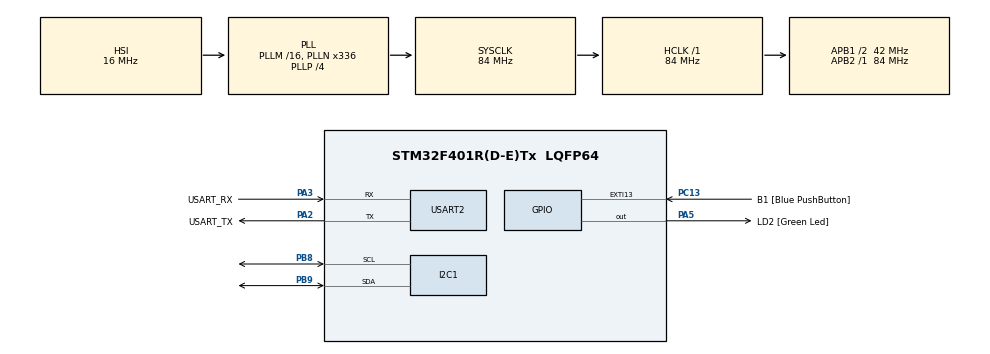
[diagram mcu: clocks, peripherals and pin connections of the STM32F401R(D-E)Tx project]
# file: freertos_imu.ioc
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FREERTOS.Tasks01=defaultTask,24,128,StartDefaultTask,Default,NULL,Dynamic,NULL,NULL
IWDG.Prescaler=IWDG_PRESCALER_64
IWDG.Reload=3124
Mcu.Family=STM32F4
Mcu.Name=STM32F401R(D-E)Tx
Mcu.Package=LQFP64
NVIC.PriorityGroup=NVIC_PRIORITYGROUP_4
NVIC.TIM4_IRQn=true\:15\:0\:false\:false\:true\:false\:false\:true\:true
NVIC.TimeBase=TIM4_IRQn
NVIC.TimeBaseIP=TIM4
PA13.GPIO_Label=TMS
PA13.Mode=Trace_Asynchronous_SW
PA13.Signal=SYS_JTMS-SWDIO
PA14.GPIO_Label=TCK
PA14.Mode=Trace_Asynchronous_SW
PA14.Signal=SYS_JTCK-SWCLK
PA2.GPIO_Label=USART_TX
PA2.GPIO_Mode=GPIO_MODE_AF_PP
PA2.GPIO_PuPd=GPIO_NOPULL
PA2.GPIO_Speed=GPIO_SPEED_FREQ_LOW
PA2.Mode=Asynchronous
PA2.Signal=USART2_TX
PA3.GPIO_Label=USART_RX
PA3.GPIO_Mode=GPIO_MODE_AF_PP
PA3.GPIO_PuPd=GPIO_NOPULL
PA3.GPIO_Speed=GPIO_SPEED_FREQ_LOW
PA3.Mode=Asynchronous
PA3.Signal=USART2_RX
PA5.GPIO_Label=LD2 [Green Led]
PA5.GPIO_Mode=GPIO_MODE_OUTPUT_PP
PA5.GPIO_PuPd=GPIO_NOPULL
PA5.GPIO_Speed=GPIO_SPEED_FREQ_LOW
PA5.Signal=GPIO_Output
PB3.GPIO_Label=SWO
PB3.Mode=Trace_Asynchronous_SW
PB3.Signal=SYS_JTDO-SWO
PB8.Mode=I2C
PB8.Signal=I2C1_SCL
PB9.Mode=I2C
PB9.Signal=I2C1_SDA
PC13-ANTI_TAMP.GPIO_Label=B1 [Blue PushButton]
PC13-ANTI_TAMP.GPIO_ModeDefaultEXTI=GPIO_MODE_IT_FALLING
PC13-ANTI_TAMP.GPIO_PuPd=GPIO_NOPULL
PC13-ANTI_TAMP.Signal=GPXTI13
PC14-OSC32_IN.Mode=LSE-External-Oscillator
PC14-OSC32_IN.Signal=RCC_OSC32_IN
PC15-OSC32_OUT.Mode=LSE-External-Oscillator
PC15-OSC32_OUT.Signal=RCC_OSC32_OUT
PH0\ -\ OSC_IN.Mode=HSE-External-Clock-Source
PH0\ -\ OSC_IN.Signal=RCC_OSC_IN
PH1\ -\ OSC_OUT.Mode=HSE-External-Clock-Source
PH1\ -\ OSC_OUT.Signal=RCC_OSC_OUT
ProjectManager.HeapSize=0x200
ProjectManager.StackSize=0x400
ProjectManager.TargetToolchain=STM32CubeIDE
RCC.48MHZClocksFreq_Value=48000000
RCC.AHBFreq_Value=84000000
RCC.APB1CLKDivider=RCC_HCLK_DIV2
RCC.APB1Freq_Value=42000000
RCC.APB1TimFreq_Value=84000000
RCC.APB2Freq_Value=84000000
RCC.APB2TimFreq_Value=84000000
RCC.CortexFreq_Value=84000000
RCC.HCLKFreq_Value=84000000
RCC.HSE_VALUE=8000000
RCC.HSI_VALUE=16000000
RCC.PLLN=336
RCC.PLLP=RCC_PLLP_DIV4
RCC.PLLQ=7
RCC.SYSCLKFreq_VALUE=84000000
RCC.SYSCLKSource=RCC_SYSCLKSOURCE_PLLCLK
RCC.VCOOutputFreq_Value=336000000
USART2.VirtualMode=VM_ASYNC
VP_FREERTOS_VS_CMSIS_V2.Mode=CMSIS_V2
VP_IWDG_VS_IWDG.Mode=IWDG_Activate
VP_SYS_VS_tim4.Mode=TIM4
VP_TIM2_VS_ClockSourceINT.Mode=Internal
board=NUCLEO-F401RE

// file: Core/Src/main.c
/* USER CODE BEGIN Header */
/**
  ******************************************************************************
  * @file           : main.c
  * @brief          : Main program body
  ******************************************************************************
  * @attention
  *
  * Copyright (c) 2026 STMicroelectronics.
  * All rights reserved.
  *
  * This software is licensed under terms that can be found in the LICENSE file
  * in the root directory of this software component.
  * If no LICENSE file comes with this software, it is provided AS-IS.
  *
  ******************************************************************************
  */
/* USER CODE END Header */
#include "main.h"
#include "cmsis_os.h"

I2C_HandleTypeDef hi2c1;

IWDG_HandleTypeDef hiwdg;

TIM_HandleTypeDef htim2;

UART_HandleTypeDef huart2;

/* Definitions for defaultTask */
osThreadId_t defaultTaskHandle;
const osThreadAttr_t defaultTask_attributes = {
  .name = "defaultTask",
  .stack_size = 128 * 4,
  .priority = (osPriority_t) osPriorityNormal,
};

void SystemClock_Config(void);
static void MX_GPIO_Init(void);
static void MX_I2C1_Init(void);
static void MX_TIM2_Init(void);
static void MX_USART2_UART_Init(void);
static void MX_IWDG_Init(void);
void StartDefaultTask(void *argument);

int main(void)
{

  /* MCU Configuration--------------------------------------------------------*/

  /* Reset of all peripherals, Initializes the Flash interface and the Systick. */
  HAL_Init();

  /* Configure the system clock */
  SystemClock_Config();

  /* Initialize all configured peripherals */
  MX_GPIO_Init();
  MX_I2C1_Init();
  MX_TIM2_Init();
  MX_USART2_UART_Init();
  MX_IWDG_Init();

  /* Init scheduler */
  osKernelInitialize();

  /* Create the thread(s) */
  /* creation of defaultTask */
  defaultTaskHandle = osThreadNew(StartDefaultTask, NULL, &defaultTask_attributes);

  /* Start scheduler */
  HAL_IWDG_Refresh(&hiwdg); /* Refresh before scheduler starts */
  osKernelStart();

  /* We should never get here as control is now taken by the scheduler */

  /* Infinite loop */
  while (1)
  {

  }
}

void SystemClock_Config(void)
{
  RCC_OscInitTypeDef RCC_OscInitStruct = {0};
  RCC_ClkInitTypeDef RCC_ClkInitStruct = {0};

  /** Configure the main internal regulator output voltage
  */
  __HAL_RCC_PWR_CLK_ENABLE();
  __HAL_PWR_VOLTAGESCALING_CONFIG(PWR_REGULATOR_VOLTAGE_SCALE2);

  /** Initializes the RCC Oscillators according to the specified parameters
  * in the RCC_OscInitTypeDef structure.
  */
  RCC_OscInitStruct.OscillatorType = RCC_OSCILLATORTYPE_HSI|RCC_OSCILLATORTYPE_LSI;
  RCC_OscInitStruct.HSIState = RCC_HSI_ON;
  RCC_OscInitStruct.HSICalibrationValue = RCC_HSICALIBRATION_DEFAULT;
  RCC_OscInitStruct.LSIState = RCC_LSI_ON;
  RCC_OscInitStruct.PLL.PLLState = RCC_PLL_ON;
  RCC_OscInitStruct.PLL.PLLSource = RCC_PLLSOURCE_HSI;
  RCC_OscInitStruct.PLL.PLLM = 16;
  RCC_OscInitStruct.PLL.PLLN = 336;
  RCC_OscInitStruct.PLL.PLLP = RCC_PLLP_DIV4;
  RCC_OscInitStruct.PLL.PLLQ = 7;
  if (HAL_RCC_OscConfig(&RCC_OscInitStruct) != HAL_OK)
  {
    Error_Handler();
  }

  /** Initializes the CPU, AHB and APB buses clocks
  */
  RCC_ClkInitStruct.ClockType = RCC_CLOCKTYPE_HCLK|RCC_CLOCKTYPE_SYSCLK
                              |RCC_CLOCKTYPE_PCLK1|RCC_CLOCKTYPE_PCLK2;
  RCC_ClkInitStruct.SYSCLKSource = RCC_SYSCLKSOURCE_PLLCLK;
  RCC_ClkInitStruct.AHBCLKDivider = RCC_SYSCLK_DIV1;
  RCC_ClkInitStruct.APB1CLKDivider = RCC_HCLK_DIV2;
  RCC_ClkInitStruct.APB2CLKDivider = RCC_HCLK_DIV1;

  if (HAL_RCC_ClockConfig(&RCC_ClkInitStruct, FLASH_LATENCY_2) != HAL_OK)
  {
    Error_Handler();
  }
}

static void MX_I2C1_Init(void)
{

  hi2c1.Instance = I2C1;
  hi2c1.Init.ClockSpeed = 100000;
  hi2c1.Init.DutyCycle = I2C_DUTYCYCLE_2;
  hi2c1.Init.OwnAddress1 = 0;
  hi2c1.Init.AddressingMode = I2C_ADDRESSINGMODE_7BIT;
  hi2c1.Init.DualAddressMode = I2C_DUALADDRESS_DISABLE;
  hi2c1.Init.OwnAddress2 = 0;
  hi2c1.Init.GeneralCallMode = I2C_GENERALCALL_DISABLE;
  hi2c1.Init.NoStretchMode = I2C_NOSTRETCH_DISABLE;
  if (HAL_I2C_Init(&hi2c1) != HAL_OK)
  {
    Error_Handler();
  }

}

static void MX_IWDG_Init(void)
{

  hiwdg.Instance = IWDG;
  hiwdg.Init.Prescaler = IWDG_PRESCALER_64;
  hiwdg.Init.Reload = 3124;
  if (HAL_IWDG_Init(&hiwdg) != HAL_OK)
  {
    Error_Handler();
  }

}

static void MX_TIM2_Init(void)
{

  TIM_ClockConfigTypeDef sClockSourceConfig = {0};
  TIM_MasterConfigTypeDef sMasterConfig = {0};

  htim2.Instance = TIM2;
  htim2.Init.Prescaler = 0;
  htim2.Init.CounterMode = TIM_COUNTERMODE_UP;
  htim2.Init.Period = 4294967295;
  htim2.Init.ClockDivision = TIM_CLOCKDIVISION_DIV1;
  htim2.Init.AutoReloadPreload = TIM_AUTORELOAD_PRELOAD_DISABLE;
  if (HAL_TIM_Base_Init(&htim2) != HAL_OK)
  {
    Error_Handler();
  }
  sClockSourceConfig.ClockSource = TIM_CLOCKSOURCE_INTERNAL;
  if (HAL_TIM_ConfigClockSource(&htim2, &sClockSourceConfig) != HAL_OK)
  {
    Error_Handler();
  }
  sMasterConfig.MasterOutputTrigger = TIM_TRGO_RESET;
  sMasterConfig.MasterSlaveMode = TIM_MASTERSLAVEMODE_DISABLE;
  if (HAL_TIMEx_MasterConfigSynchronization(&htim2, &sMasterConfig) != HAL_OK)
  {
    Error_Handler();
  }

}

static void MX_USART2_UART_Init(void)
{

  huart2.Instance = USART2;
  huart2.Init.BaudRate = 115200;
  huart2.Init.WordLength = UART_WORDLENGTH_8B;
  huart2.Init.StopBits = UART_STOPBITS_1;
  huart2.Init.Parity = UART_PARITY_NONE;
  huart2.Init.Mode = UART_MODE_TX_RX;
  huart2.Init.HwFlowCtl = UART_HWCONTROL_NONE;
  huart2.Init.OverSampling = UART_OVERSAMPLING_16;
  if (HAL_UART_Init(&huart2) != HAL_OK)
  {
    Error_Handler();
  }

}

static void MX_GPIO_Init(void)
{
  GPIO_InitTypeDef GPIO_InitStruct = {0};

  /* GPIO Ports Clock Enable */
  __HAL_RCC_GPIOC_CLK_ENABLE();
  __HAL_RCC_GPIOH_CLK_ENABLE();
  __HAL_RCC_GPIOA_CLK_ENABLE();
  __HAL_RCC_GPIOB_CLK_ENABLE();

  /*Configure GPIO pin Output Level */
  HAL_GPIO_WritePin(LD2_GPIO_Port, LD2_Pin, GPIO_PIN_RESET);

  /*Configure GPIO pin : B1_Pin */
  GPIO_InitStruct.Pin = B1_Pin;
  GPIO_InitStruct.Mode = GPIO_MODE_IT_FALLING;
  GPIO_InitStruct.Pull = GPIO_NOPULL;
  HAL_GPIO_Init(B1_GPIO_Port, &GPIO_InitStruct);

  /*Configure GPIO pin : LD2_Pin */
  GPIO_InitStruct.Pin = LD2_Pin;
  GPIO_InitStruct.Mode = GPIO_MODE_OUTPUT_PP;
  GPIO_InitStruct.Pull = GPIO_NOPULL;
  GPIO_InitStruct.Speed = GPIO_SPEED_FREQ_LOW;
  HAL_GPIO_Init(LD2_GPIO_Port, &GPIO_InitStruct);

}

void StartDefaultTask(void *argument)
{
  for(;;)
  {
    osDelay(1);
  }
}

void HAL_TIM_PeriodElapsedCallback(TIM_HandleTypeDef *htim)
{
  if (htim->Instance == TIM4)
  {
    HAL_IncTick();
  }
}

void Error_Handler(void)
{
  __disable_irq();
  while (1)
  {
  }
}

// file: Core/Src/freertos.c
/* USER CODE BEGIN Header */
/**
  ******************************************************************************
  * File Name          : freertos.c
  * Description        : FreeRTOS Multi-Task IMU Sensor Fusion
  *                      Tasks: IMU Read, Kalman Filter, UART Print, LED Blink
  *
  * Features:
  *   - 4 concurrent FreeRTOS tasks with assigned priorities
  *   - MPU6050 IMU read over I2C at 100Hz
  *   - Kalman filter for roll/pitch estimation
  *   - Thread-safe UART output using mutex
  *   - Inter-task communication via queues
  *   - Stack high-water mark monitoring
  *   - Per-task CPU usage via runtime stats
  *   - IWDG watchdog for production-grade reliability
  ******************************************************************************
  */
/* USER CODE END Header */

#include "FreeRTOS.h"
#include "task.h"
#include "main.h"

/* USER CODE BEGIN Includes */
#include "cmsis_os.h"
#include "queue.h"
#include "semphr.h"
#include <stdio.h>
#include <string.h>
#include <math.h>
/* USER CODE END Includes */

/* USER CODE BEGIN PTD */
typedef struct {
    int16_t ax, ay, az;
    int16_t gx, gy, gz;
} IMU_RawData_t;

typedef struct {
    float roll;
    float pitch;
} IMU_Angles_t;

typedef struct {
    float angle;
    float bias;
    float P[2][2];
} KalmanFilter_t;
/* USER CODE END PTD */

/* USER CODE BEGIN PD */
#define MPU6050_ADDR        (0x68 << 1)
#define PWR_MGMT_1          0x6B
#define ACCEL_XOUT_H        0x3B
#define ACCEL_CONFIG        0x1C
#define GYRO_CONFIG         0x1B
#define DT                  0.01f       // 10ms task period
#define RAD_TO_DEG          57.295779513f
#define MAX_TASKS           10
/* USER CODE END PD */

/* USER CODE BEGIN Variables */
static QueueHandle_t xRawDataQueue;
static QueueHandle_t xAnglesQueue;
static SemaphoreHandle_t xUARTMutex;
static TaskHandle_t xIMUTaskHandle;
static TaskHandle_t xKalmanTaskHandle;
static TaskHandle_t xUARTTaskHandle;
static TaskHandle_t xLEDTaskHandle;

extern I2C_HandleTypeDef hi2c1;
extern UART_HandleTypeDef huart2;
extern IWDG_HandleTypeDef hiwdg;
extern TIM_HandleTypeDef htim2;
/* USER CODE END Variables */

/* USER CODE BEGIN FunctionPrototypes */
static void MPU6050_Init(void);
static void MPU6050_Read(IMU_RawData_t *data);
static float Kalman_Update(KalmanFilter_t *kf, float newAngle, float newRate);
static void Kalman_Init(KalmanFilter_t *kf);

void Task_IMU_Read(void *argument);
void Task_Kalman_Filter(void *argument);
void Task_UART_Print(void *argument);
void Task_LED_Blink(void *argument);
/* USER CODE END FunctionPrototypes */

/* USER CODE BEGIN Application */

/* ============================================================
 * MPU6050 Functions
 * ============================================================ */
static void MPU6050_Init(void) {
    uint8_t data = 0x00;
    // Wake up MPU6050
    HAL_I2C_Mem_Write(&hi2c1, MPU6050_ADDR, PWR_MGMT_1, 1, &data, 1, 100);
    HAL_Delay(100);
    // Accel: +-2g, Gyro: +-250 deg/s
    HAL_I2C_Mem_Write(&hi2c1, MPU6050_ADDR, ACCEL_CONFIG, 1, &data, 1, 100);
    HAL_I2C_Mem_Write(&hi2c1, MPU6050_ADDR, GYRO_CONFIG,  1, &data, 1, 100);
}

static void MPU6050_Read(IMU_RawData_t *data) {
    uint8_t buf[14];
    HAL_I2C_Mem_Read(&hi2c1, MPU6050_ADDR, ACCEL_XOUT_H, 1, buf, 14, 100);
    data->ax = (int16_t)(buf[0]  << 8 | buf[1]);
    data->ay = (int16_t)(buf[2]  << 8 | buf[3]);
    data->az = (int16_t)(buf[4]  << 8 | buf[5]);
    data->gx = (int16_t)(buf[8]  << 8 | buf[9]);
    data->gy = (int16_t)(buf[10] << 8 | buf[11]);
    data->gz = (int16_t)(buf[12] << 8 | buf[13]);
}

/* ============================================================
 * Kalman Filter
 * ============================================================ */
static void Kalman_Init(KalmanFilter_t *kf) {
    kf->angle  = 0.0f;
    kf->bias   = 0.0f;
    kf->P[0][0] = 0.0f;
    kf->P[0][1] = 0.0f;
    kf->P[1][0] = 0.0f;
    kf->P[1][1] = 0.0f;
}

static float Kalman_Update(KalmanFilter_t *kf, float newAngle, float newRate) {
    const float Q_angle   = 0.001f;
    const float Q_bias    = 0.003f;
    const float R_measure = 0.03f;

    // Predict
    float rate = newRate - kf->bias;
    kf->angle += DT * rate;
    kf->P[0][0] += DT * (DT * kf->P[1][1] - kf->P[0][1] - kf->P[1][0] + Q_angle);
    kf->P[0][1] -= DT * kf->P[1][1];
    kf->P[1][0] -= DT * kf->P[1][1];
    kf->P[1][1] += Q_bias * DT;

    // Update
    float S  = kf->P[0][0] + R_measure;
    float K0 = kf->P[0][0] / S;
    float K1 = kf->P[1][0] / S;
    float y  = newAngle - kf->angle;
    kf->angle += K0 * y;
    kf->bias  += K1 * y;
    kf->P[0][0] -= K0 * kf->P[0][0];
    kf->P[0][1] -= K0 * kf->P[0][1];
    kf->P[1][0] -= K1 * kf->P[0][0];
    kf->P[1][1] -= K1 * kf->P[0][1];

    return kf->angle;
}

/* ============================================================
 * TASK 1: IMU Read (Priority 4 - Highest)
 * Reads MPU6050 over I2C every 10ms (100Hz)
 * Sends raw data to xRawDataQueue
 * ============================================================ */
void Task_IMU_Read(void *argument) {
    IMU_RawData_t rawData;
    TickType_t xLastWakeTime = xTaskGetTickCount();
    const TickType_t xPeriod = pdMS_TO_TICKS(10);

    for (;;) {
        MPU6050_Read(&rawData);
        xQueueOverwrite(xRawDataQueue, &rawData);
        vTaskDelayUntil(&xLastWakeTime, xPeriod);
    }
}

/* ============================================================
 * TASK 2: Kalman Filter (Priority 3)
 * Receives raw IMU data, applies Kalman filter
 * Sends filtered roll/pitch to xAnglesQueue
 * ============================================================ */
void Task_Kalman_Filter(void *argument) {
    IMU_RawData_t rawData;
    IMU_Angles_t angles;
    KalmanFilter_t kf_roll, kf_pitch;

    Kalman_Init(&kf_roll);
    Kalman_Init(&kf_pitch);

    for (;;) {
        if (xQueueReceive(xRawDataQueue, &rawData, pdMS_TO_TICKS(20)) == pdTRUE) {
            float ax = rawData.ax / 16384.0f;
            float ay = rawData.ay / 16384.0f;
            float az = rawData.az / 16384.0f;
            float gx = rawData.gx / 131.0f;
            float gy = rawData.gy / 131.0f;

            float accel_roll  = atan2f(ay, az) * RAD_TO_DEG;
            float accel_pitch = atan2f(-ax, sqrtf(ay*ay + az*az)) * RAD_TO_DEG;

            angles.roll  = Kalman_Update(&kf_roll,  accel_roll,  gx);
            angles.pitch = Kalman_Update(&kf_pitch, accel_pitch, gy);

            xQueueOverwrite(xAnglesQueue, &angles);
        }
    }
}

/* ============================================================
 * TASK 3: UART Print (Priority 2)
 * Prints Roll/Pitch every 100ms
 * Prints Stack HWM + CPU usage every 1 second
 * Uses mutex for thread-safe UART access
 * ============================================================ */
void Task_UART_Print(void *argument) {
    IMU_Angles_t angles;
    char buf[256];
    uint32_t printCount = 0;
    TickType_t xLastWakeTime = xTaskGetTickCount();
    const TickType_t xPeriod = pdMS_TO_TICKS(100);

    static char statsBuffer[40 * MAX_TASKS];

    for (;;) {
        if (xQueuePeek(xAnglesQueue, &angles, pdMS_TO_TICKS(50)) == pdTRUE) {

            if (xSemaphoreTake(xUARTMutex, pdMS_TO_TICKS(10)) == pdTRUE) {

                // Roll/Pitch every 100ms
                snprintf(buf, sizeof(buf), "Roll:%6.2f Pitch:%6.2f\r\n",
                         angles.roll, angles.pitch);
                HAL_UART_Transmit(&huart2, (uint8_t*)buf, strlen(buf), 100);

                // Every 1 second: stack HWM + CPU usage
                if (++printCount % 10 == 0) {

                    // Stack high water marks
                    snprintf(buf, sizeof(buf),
                        "--- Stack HWM (words) IMU:%lu KF:%lu UART:%lu LED:%lu ---\r\n",
                        uxTaskGetStackHighWaterMark(xIMUTaskHandle),
                        uxTaskGetStackHighWaterMark(xKalmanTaskHandle),
                        uxTaskGetStackHighWaterMark(xUARTTaskHandle),
                        uxTaskGetStackHighWaterMark(xLEDTaskHandle));
                    HAL_UART_Transmit(&huart2, (uint8_t*)buf, strlen(buf), 100);

                    // CPU usage per task
                    const char *cpuHeader = "--- CPU Usage ---\r\n";
                    HAL_UART_Transmit(&huart2, (uint8_t*)cpuHeader, strlen(cpuHeader), 100);

                    vTaskGetRunTimeStats(statsBuffer);
                    if(strlen(statsBuffer) == 0)
                        snprintf(statsBuffer, 40*MAX_TASKS, "STATS EMPTY\r\n");
                    HAL_UART_Transmit(&huart2, (uint8_t*)statsBuffer, strlen(statsBuffer), 500);

                    const char *cpuFooter = "-----------------\r\n";
                    HAL_UART_Transmit(&huart2, (uint8_t*)cpuFooter, strlen(cpuFooter), 100);
                }

                xSemaphoreGive(xUARTMutex);
            }
        }
        vTaskDelayUntil(&xLastWakeTime, xPeriod);
    }
}

/* ============================================================
 * TASK 4: LED Blink (Priority 1 - Lowest)
 * Heartbeat blink every 500ms
 * Kicks IWDG watchdog — if this task freezes, MCU resets
 * ============================================================ */
void Task_LED_Blink(void *argument) {
    for (;;) {
        HAL_GPIO_TogglePin(LD2_GPIO_Port, LD2_Pin);
        HAL_IWDG_Refresh(&hiwdg);   // Pet the watchdog every 500ms
        vTaskDelay(pdMS_TO_TICKS(500));
    }
}

/* ============================================================
 * MX_FREERTOS_Init — called from main.c
 * Creates queues, mutex, and all 4 tasks
 * ============================================================ */
void MX_FREERTOS_Init(void) {

    // Initialize MPU6050
    MPU6050_Init();

    // Start TIM2 as free-running counter for CPU runtime stats
    HAL_TIM_Base_Start(&htim2);

    // Create queues (depth 1 — always holds latest value)
    xRawDataQueue = xQueueCreate(1, sizeof(IMU_RawData_t));
    xAnglesQueue  = xQueueCreate(1, sizeof(IMU_Angles_t));

    // Create UART mutex for thread-safe transmission
    xUARTMutex = xSemaphoreCreateMutex();

    // Startup message
    const char *startMsg = "FreeRTOS IMU System Started! (IWDG + CPU Stats Active)\r\n";
    HAL_UART_Transmit(&huart2, (uint8_t*)startMsg, strlen(startMsg), 1000);

    // Create tasks with priorities and stack sizes
    xTaskCreate(Task_IMU_Read,      "IMU",    256, NULL, 4, &xIMUTaskHandle);
    xTaskCreate(Task_Kalman_Filter, "Kalman", 512, NULL, 3, &xKalmanTaskHandle);
    xTaskCreate(Task_UART_Print,    "UART",   512, NULL, 2, &xUARTTaskHandle);
    xTaskCreate(Task_LED_Blink,     "LED",    128, NULL, 1, &xLEDTaskHandle);
}

/* USER CODE END Application */
